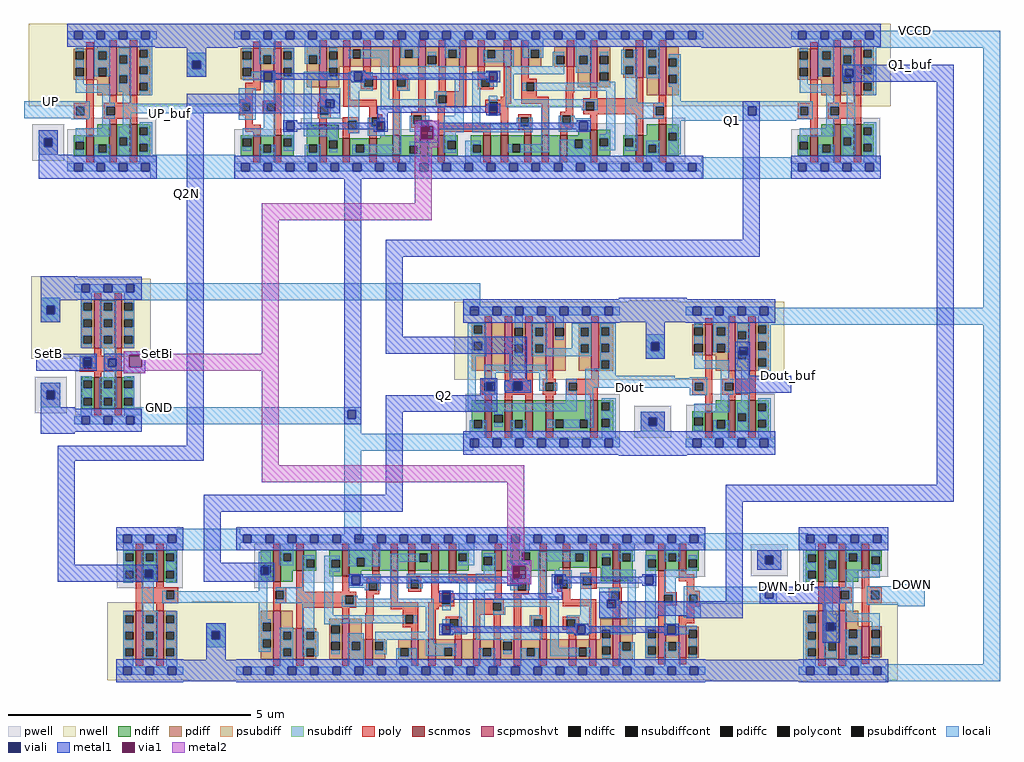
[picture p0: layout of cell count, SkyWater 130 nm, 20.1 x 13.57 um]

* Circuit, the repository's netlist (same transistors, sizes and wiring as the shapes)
* NGSPICE file created from count.ext - technology: sky130A

.subckt sky130_fd_sc_hd__dfstp_1 CLK D SET_B VGND VNB VPB VPWR Q
X0 VGND a_652_21# a_586_47# VNB sky130_fd_pr__nfet_01v8 ad=0.0882 pd=0.84 as=0.06705 ps=0.75 w=0.42 l=0.15
X1 a_956_413# a_476_47# VPWR VPB sky130_fd_pr__pfet_01v8_hvt ad=0.0483 pd=0.65 as=0.0567 ps=0.69 w=0.42 l=0.15
X2 VPWR a_476_47# a_652_21# VPB sky130_fd_pr__pfet_01v8_hvt ad=0.0567 pd=0.69 as=0.0567 ps=0.69 w=0.42 l=0.15
X3 VPWR CLK a_27_47# VPB sky130_fd_pr__pfet_01v8_hvt ad=0.0864 pd=0.91 as=0.1664 ps=1.8 w=0.64 l=0.15
X4 a_586_47# a_193_47# a_476_47# VNB sky130_fd_pr__special_nfet_01v8 ad=0.06705 pd=0.75 as=0.072 ps=0.76 w=0.36 l=0.15
X5 a_1056_47# a_476_47# VGND VNB sky130_fd_pr__nfet_01v8 ad=0.0441 pd=0.63 as=0.1092 ps=1.36 w=0.42 l=0.15
X6 a_476_47# a_27_47# a_381_47# VNB sky130_fd_pr__special_nfet_01v8 ad=0.072 pd=0.76 as=0.0935 ps=0.965 w=0.36 l=0.15
X7 a_381_47# D VPWR VPB sky130_fd_pr__pfet_01v8_hvt ad=0.12495 pd=1.175 as=0.2184 ps=2.2 w=0.84 l=0.15
X8 a_652_21# SET_B VPWR VPB sky130_fd_pr__pfet_01v8_hvt ad=0.0567 pd=0.69 as=0.0798 ps=0.8 w=0.42 l=0.15
X9 a_1224_47# a_27_47# a_1032_413# VNB sky130_fd_pr__nfet_01v8 ad=0.0441 pd=0.63 as=0.0693 ps=0.75 w=0.42 l=0.15
X10 a_562_413# a_27_47# a_476_47# VPB sky130_fd_pr__pfet_01v8_hvt ad=0.0945 pd=0.87 as=0.0567 ps=0.69 w=0.42 l=0.15
X11 VGND a_1032_413# a_1602_47# VNB sky130_fd_pr__nfet_01v8 ad=0.097 pd=0.975 as=0.1092 ps=1.36 w=0.42 l=0.15
X12 VPWR a_1182_261# a_1140_413# VPB sky130_fd_pr__pfet_01v8_hvt ad=0.1092 pd=1.36 as=0.0441 ps=0.63 w=0.42 l=0.15
X13 Q a_1602_47# VPWR VPB sky130_fd_pr__pfet_01v8_hvt ad=0.26 pd=2.52 as=0.149 ps=1.325 w=1 l=0.15
X14 a_1032_413# a_193_47# a_1056_47# VNB sky130_fd_pr__nfet_01v8 ad=0.0693 pd=0.75 as=0.0441 ps=0.63 w=0.42 l=0.15
X15 a_476_47# a_193_47# a_381_47# VPB sky130_fd_pr__pfet_01v8_hvt ad=0.0567 pd=0.69 as=0.12495 ps=1.175 w=0.42 l=0.15
X16 a_1296_47# a_1182_261# a_1224_47# VNB sky130_fd_pr__nfet_01v8 ad=0.0483 pd=0.65 as=0.0441 ps=0.63 w=0.42 l=0.15
X17 a_193_47# a_27_47# VGND VNB sky130_fd_pr__nfet_01v8 ad=0.1092 pd=1.36 as=0.0567 ps=0.69 w=0.42 l=0.15
X18 VPWR a_652_21# a_562_413# VPB sky130_fd_pr__pfet_01v8_hvt ad=0.0798 pd=0.8 as=0.0945 ps=0.87 w=0.42 l=0.15
X19 VPWR SET_B a_1032_413# VPB sky130_fd_pr__pfet_01v8_hvt ad=0.12285 pd=1.17 as=0.1092 ps=1.36 w=0.42 l=0.15
X20 a_1032_413# a_27_47# a_956_413# VPB sky130_fd_pr__pfet_01v8_hvt ad=0.0819 pd=0.81 as=0.0483 ps=0.65 w=0.42 l=0.15
X21 a_1182_261# a_1032_413# VPWR VPB sky130_fd_pr__pfet_01v8_hvt ad=0.2184 pd=2.2 as=0.12285 ps=1.17 w=0.84 l=0.15
X22 Q a_1602_47# VGND VNB sky130_fd_pr__nfet_01v8 ad=0.169 pd=1.82 as=0.097 ps=0.975 w=0.65 l=0.15
X23 a_193_47# a_27_47# VPWR VPB sky130_fd_pr__pfet_01v8_hvt ad=0.1664 pd=1.8 as=0.0864 ps=0.91 w=0.64 l=0.15
X24 a_1140_413# a_193_47# a_1032_413# VPB sky130_fd_pr__pfet_01v8_hvt ad=0.0441 pd=0.63 as=0.0819 ps=0.81 w=0.42 l=0.15
X25 VPWR a_1032_413# a_1602_47# VPB sky130_fd_pr__pfet_01v8_hvt ad=0.149 pd=1.325 as=0.1664 ps=1.8 w=0.64 l=0.15
X26 a_796_47# SET_B VGND VNB sky130_fd_pr__nfet_01v8 ad=0.0441 pd=0.63 as=0.0882 ps=0.84 w=0.42 l=0.15
X27 a_381_47# D VGND VNB sky130_fd_pr__nfet_01v8 ad=0.0935 pd=0.965 as=0.1664 ps=1.8 w=0.64 l=0.15
X28 a_1182_261# a_1032_413# VGND VNB sky130_fd_pr__nfet_01v8 ad=0.1404 pd=1.6 as=0.1137 ps=1.01 w=0.54 l=0.15
X29 a_652_21# a_476_47# a_796_47# VNB sky130_fd_pr__nfet_01v8 ad=0.1092 pd=1.36 as=0.0441 ps=0.63 w=0.42 l=0.15
X30 VGND CLK a_27_47# VNB sky130_fd_pr__nfet_01v8 ad=0.0567 pd=0.69 as=0.1092 ps=1.36 w=0.42 l=0.15
X31 VGND SET_B a_1296_47# VNB sky130_fd_pr__nfet_01v8 ad=0.1137 pd=1.01 as=0.0483 ps=0.65 w=0.42 l=0.15
.ends

.subckt sky130_fd_sc_hd__inv_2 A VGND VNB VPB VPWR Y
X0 Y A VPWR VPB sky130_fd_pr__pfet_01v8_hvt ad=0.135 pd=1.27 as=0.26 ps=2.52 w=1 l=0.15 M=2
X1 VGND A Y VNB sky130_fd_pr__nfet_01v8 ad=0.169 pd=1.82 as=0.08775 ps=0.92 w=0.65 l=0.15 M=2
.ends

.subckt sky130_fd_sc_hd__buf_2 A VGND VNB VPB VPWR X
X0 VPWR a_27_47# X VPB sky130_fd_pr__pfet_01v8_hvt ad=0.265 pd=2.53 as=0.135 ps=1.27 w=1 l=0.15 M=2
X1 VPWR A a_27_47# VPB sky130_fd_pr__pfet_01v8_hvt ad=0.149 pd=1.325 as=0.1664 ps=1.8 w=0.64 l=0.15
X2 X a_27_47# VGND VNB sky130_fd_pr__nfet_01v8 ad=0.08775 pd=0.92 as=0.097 ps=0.975 w=0.65 l=0.15 M=2
X3 VGND A a_27_47# VNB sky130_fd_pr__nfet_01v8 ad=0.097 pd=0.975 as=0.1092 ps=1.36 w=0.42 l=0.15
.ends

.subckt sky130_fd_sc_hd__xor2_1 A B VGND VNB VPB VPWR X
X0 X a_35_297# a_285_297# VPB sky130_fd_pr__pfet_01v8_hvt ad=0.3 pd=2.6 as=0.26 ps=2.52 w=1 l=0.15
X1 X B a_285_47# VNB sky130_fd_pr__nfet_01v8 ad=0.25025 pd=1.42 as=0.08775 ps=0.92 w=0.65 l=0.15
X2 a_35_297# B VGND VNB sky130_fd_pr__nfet_01v8 ad=0.08775 pd=0.92 as=0.169 ps=1.82 w=0.65 l=0.15
X3 a_117_297# B a_35_297# VPB sky130_fd_pr__pfet_01v8_hvt ad=0.135 pd=1.27 as=0.26 ps=2.52 w=1 l=0.15
X4 VPWR B a_285_297# VPB sky130_fd_pr__pfet_01v8_hvt ad=0.26 pd=2.52 as=0.135 ps=1.27 w=1 l=0.15
X5 VGND A a_35_297# VNB sky130_fd_pr__nfet_01v8 ad=0.08775 pd=0.92 as=0.08775 ps=0.92 w=0.65 l=0.15
X6 VGND a_35_297# X VNB sky130_fd_pr__nfet_01v8 ad=0.208 pd=1.94 as=0.25025 ps=1.42 w=0.65 l=0.15
X7 a_285_297# A VPWR VPB sky130_fd_pr__pfet_01v8_hvt ad=0.135 pd=1.27 as=0.135 ps=1.27 w=1 l=0.15
X8 VPWR A a_117_297# VPB sky130_fd_pr__pfet_01v8_hvt ad=0.135 pd=1.27 as=0.135 ps=1.27 w=1 l=0.15
X9 a_285_47# A VGND VNB sky130_fd_pr__nfet_01v8 ad=0.08775 pd=0.92 as=0.08775 ps=0.92 w=0.65 l=0.15
.ends

.subckt count UP SetB DOWN Dout_buf
Xsky130_fd_sc_hd__dfstp_1_0 UP_buf Q2N SetBi GND GND VCCD VCCD Q1 sky130_fd_sc_hd__dfstp_1
Xsky130_fd_sc_hd__dfstp_1_1 DWN_buf Q1_buf SetBi GND GND VCCD VCCD Q2 sky130_fd_sc_hd__dfstp_1
Xsky130_fd_sc_hd__inv_2_0 SetB GND GND VCCD VCCD SetBi sky130_fd_sc_hd__inv_2
Xsky130_fd_sc_hd__buf_2_1 DOWN GND GND VCCD VCCD DWN_buf sky130_fd_sc_hd__buf_2
Xsky130_fd_sc_hd__inv_2_1 Q2 GND GND VCCD VCCD Q2N sky130_fd_sc_hd__inv_2
Xsky130_fd_sc_hd__buf_2_2 Dout GND GND VCCD VCCD Dout_buf sky130_fd_sc_hd__buf_2
Xsky130_fd_sc_hd__buf_2_3 Q1 GND GND VCCD VCCD Q1_buf sky130_fd_sc_hd__buf_2
Xsky130_fd_sc_hd__buf_2_4 UP GND GND VCCD VCCD UP_buf sky130_fd_sc_hd__buf_2
Xsky130_fd_sc_hd__xor2_1_1 Q1 Q2 GND GND VCCD VCCD Dout sky130_fd_sc_hd__xor2_1
.ends

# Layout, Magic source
magic
tech sky130A
magscale 1 2
<< nwell >>
rect -860 -780 2690 -440
rect -850 -1500 -670 -1480
rect -850 -1810 -690 -1500
rect -850 -1820 -680 -1810
rect 1610 -1910 1810 -1580
rect -190 -2840 -20 -2820
rect 1960 -2830 2320 -2820
rect -190 -3140 -40 -2840
rect 1960 -3140 2280 -2830
rect -190 -3150 -20 -3140
rect 1960 -3150 2350 -3140
<< pwell >>
rect -846 -1006 -714 -854
rect -836 -2046 -704 -1894
rect 1634 -2146 1786 -2014
rect 2114 -2716 2266 -2584
<< psubdiff >>
rect -820 -913 -740 -880
rect -820 -947 -797 -913
rect -763 -947 -740 -913
rect -820 -980 -740 -947
rect -810 -1953 -730 -1920
rect -810 -1987 -787 -1953
rect -753 -1987 -730 -1953
rect -810 -2020 -730 -1987
rect 1660 -2063 1760 -2040
rect 1660 -2097 1693 -2063
rect 1727 -2097 1760 -2063
rect 1660 -2120 1760 -2097
rect 2140 -2633 2240 -2610
rect 2140 -2667 2173 -2633
rect 2207 -2667 2240 -2633
rect 2140 -2690 2240 -2667
<< nsubdiff >>
rect -210 -593 -130 -560
rect -210 -627 -187 -593
rect -153 -627 -130 -593
rect -210 -660 -130 -627
rect -810 -1603 -730 -1570
rect -810 -1637 -787 -1603
rect -753 -1637 -730 -1603
rect -810 -1670 -730 -1637
rect 1680 -1753 1760 -1720
rect 1680 -1787 1703 -1753
rect 1737 -1787 1760 -1753
rect 1680 -1820 1760 -1787
rect -130 -2943 -50 -2910
rect -130 -2977 -107 -2943
rect -73 -2977 -50 -2943
rect -130 -3010 -50 -2977
<< psubdiffcont >>
rect -797 -947 -763 -913
rect -787 -1987 -753 -1953
rect 1693 -2097 1727 -2063
rect 2173 -2667 2207 -2633
<< nsubdiffcont >>
rect -187 -627 -153 -593
rect -787 -1637 -753 -1603
rect 1703 -1787 1737 -1753
rect -107 -2977 -73 -2943
<< locali >>
rect 2630 -540 3140 -470
rect -210 -593 -130 -560
rect -210 -627 -187 -593
rect -153 -627 -130 -593
rect -210 -660 -130 -627
rect 360 -753 400 -750
rect -880 -830 -610 -760
rect -440 -810 20 -770
rect 360 -787 363 -753
rect 397 -787 400 -753
rect 360 -790 400 -787
rect 1820 -783 2300 -760
rect 1820 -817 2103 -783
rect 2137 -817 2300 -783
rect 1820 -840 2300 -817
rect -820 -913 -740 -880
rect -820 -947 -797 -913
rect -763 -947 -740 -913
rect -820 -980 -740 -947
rect -360 -1080 -10 -980
rect 1910 -1080 2280 -990
rect -810 -1603 -730 -1570
rect -430 -1580 1000 -1510
rect -810 -1637 -787 -1603
rect -753 -1637 -730 -1603
rect 930 -1620 1000 -1580
rect 3070 -1610 3140 -540
rect -810 -1670 -730 -1637
rect 2190 -1680 3140 -1610
rect 1680 -1753 1760 -1720
rect 1680 -1787 1703 -1753
rect 1737 -1787 1760 -1753
rect -638 -1817 -598 -1814
rect -638 -1851 -635 -1817
rect -601 -1851 -598 -1817
rect 1680 -1820 1760 -1787
rect 2064 -1773 2104 -1770
rect 2064 -1807 2067 -1773
rect 2101 -1807 2104 -1773
rect 2064 -1810 2104 -1807
rect -638 -1854 -598 -1851
rect 1460 -1900 1800 -1890
rect -810 -1953 -730 -1920
rect 1460 -1940 1870 -1900
rect 2090 -1950 2100 -1940
rect -810 -1987 -787 -1953
rect -753 -1987 -730 -1953
rect -810 -2020 -730 -1987
rect -430 -2033 510 -2020
rect -430 -2067 453 -2033
rect 487 -2067 510 -2033
rect -430 -2090 510 -2067
rect 440 -2130 510 -2090
rect 1660 -2063 1760 -2040
rect 1660 -2097 1693 -2063
rect 1727 -2097 1760 -2063
rect 1660 -2120 1760 -2097
rect 440 -2200 970 -2130
rect -250 -2610 10 -2520
rect 440 -2565 510 -2200
rect 1920 -2610 2350 -2540
rect 2140 -2633 2240 -2610
rect 2140 -2667 2173 -2633
rect 2207 -2667 2240 -2633
rect 92 -2677 132 -2674
rect -386 -2689 -346 -2686
rect -386 -2723 -383 -2689
rect -349 -2723 -346 -2689
rect 92 -2711 95 -2677
rect 129 -2711 132 -2677
rect 2140 -2690 2240 -2667
rect 92 -2714 132 -2711
rect -386 -2726 -346 -2723
rect 2720 -2758 2830 -2750
rect 1870 -2773 2220 -2760
rect -248 -2826 106 -2778
rect 1870 -2807 2173 -2773
rect 2207 -2807 2220 -2773
rect 1870 -2810 2220 -2807
rect 1520 -2813 1560 -2810
rect 1520 -2847 1523 -2813
rect 1557 -2847 1560 -2813
rect 1880 -2830 2220 -2810
rect 2592 -2834 2830 -2758
rect 2720 -2840 2830 -2834
rect 1520 -2850 1560 -2847
rect -130 -2943 -50 -2910
rect -130 -2977 -107 -2943
rect -73 -2977 -50 -2943
rect -130 -3010 -50 -2977
rect 3070 -3080 3140 -1680
rect 2670 -3150 3140 -3080
<< viali >>
rect -187 -627 -153 -593
rect 2502 -662 2536 -628
rect 363 -787 397 -753
rect 2103 -817 2137 -783
rect -797 -947 -763 -913
rect -787 -1637 -753 -1603
rect 1703 -1787 1737 -1753
rect -635 -1851 -601 -1817
rect 2067 -1807 2101 -1773
rect -534 -1854 -500 -1820
rect 1024 -1952 1058 -1918
rect 1138 -1950 1172 -1916
rect -787 -1987 -753 -1953
rect 453 -2067 487 -2033
rect 1693 -2097 1727 -2063
rect 2173 -2667 2207 -2633
rect -383 -2723 -349 -2689
rect 95 -2711 129 -2677
rect 2173 -2807 2207 -2773
rect 1523 -2847 1557 -2813
rect 2424 -2942 2458 -2908
rect -107 -2977 -73 -2943
<< metal1 >>
rect -690 -530 -680 -440
rect -340 -540 0 -440
rect 1910 -540 2280 -440
rect -210 -593 -130 -540
rect -210 -627 -187 -593
rect -153 -627 -130 -593
rect -210 -660 -130 -627
rect 2490 -628 2950 -610
rect 2490 -662 2502 -628
rect 2536 -662 2950 -628
rect 2490 -680 2950 -662
rect -210 -753 420 -730
rect -210 -787 363 -753
rect 397 -787 420 -753
rect -210 -810 420 -787
rect 2080 -783 2150 -760
rect -820 -913 -740 -880
rect -820 -947 -797 -913
rect -763 -947 -740 -913
rect -820 -980 -740 -947
rect -820 -1080 -680 -980
rect -810 -1580 -660 -1480
rect -810 -1603 -730 -1580
rect -810 -1637 -787 -1603
rect -753 -1637 -730 -1603
rect -810 -1670 -730 -1637
rect -470 -1800 -380 -1790
rect -830 -1817 -580 -1800
rect -830 -1851 -635 -1817
rect -601 -1851 -580 -1817
rect -830 -1870 -580 -1851
rect -550 -1804 -380 -1800
rect -550 -1820 -446 -1804
rect -550 -1854 -534 -1820
rect -500 -1854 -446 -1820
rect -550 -1856 -446 -1854
rect -394 -1856 -380 -1804
rect -550 -1870 -380 -1856
rect -470 -1880 -380 -1870
rect -810 -1953 -730 -1920
rect -810 -1987 -787 -1953
rect -753 -1987 -730 -1953
rect -810 -2020 -730 -1987
rect -810 -2130 -670 -2020
rect -210 -2180 -140 -810
rect 2080 -817 2103 -783
rect 2137 -817 2150 -783
rect 730 -864 830 -840
rect 730 -916 754 -864
rect 806 -916 830 -864
rect 730 -930 830 -916
rect 440 -2033 510 -1070
rect 2080 -1330 2150 -817
rect 610 -1400 2150 -1330
rect 610 -1730 680 -1400
rect 1570 -1670 1850 -1570
rect 610 -1800 1190 -1730
rect 1000 -1918 1070 -1900
rect 1120 -1910 1190 -1800
rect 1680 -1753 1760 -1670
rect 1680 -1787 1703 -1753
rect 1737 -1787 1760 -1753
rect 1680 -1820 1760 -1787
rect 2050 -1773 2110 -1750
rect 2050 -1807 2067 -1773
rect 2101 -1807 2110 -1773
rect 2050 -1890 2110 -1807
rect 1000 -1952 1024 -1918
rect 1058 -1952 1070 -1918
rect 1000 -1970 1070 -1952
rect 1100 -1916 1210 -1910
rect 1100 -1950 1138 -1916
rect 1172 -1950 1210 -1916
rect 1100 -1960 1210 -1950
rect 2050 -1960 2280 -1890
rect 2050 -1962 2110 -1960
rect 440 -2067 453 -2033
rect 487 -2067 510 -2033
rect 440 -2090 510 -2067
rect 610 -2040 1070 -1970
rect -740 -2240 -140 -2180
rect -740 -2670 -670 -2240
rect 610 -2380 680 -2040
rect 1660 -2063 1760 -2040
rect 1660 -2097 1693 -2063
rect 1727 -2097 1760 -2063
rect 1660 -2120 1760 -2097
rect 1570 -2220 1850 -2120
rect 2880 -2340 2950 -680
rect -140 -2450 680 -2380
rect 2010 -2410 2950 -2340
rect -140 -2660 -70 -2450
rect -740 -2689 -330 -2670
rect -740 -2723 -383 -2689
rect -349 -2723 -330 -2689
rect -740 -2740 -330 -2723
rect -140 -2677 150 -2660
rect -140 -2711 95 -2677
rect 129 -2711 150 -2677
rect -140 -2740 150 -2711
rect 1110 -2674 1210 -2650
rect 1110 -2726 1134 -2674
rect 1186 -2726 1210 -2674
rect 1110 -2750 1210 -2726
rect 1490 -2813 1570 -2780
rect 1490 -2847 1523 -2813
rect 1557 -2820 1570 -2813
rect 2010 -2820 2080 -2410
rect 2140 -2633 2240 -2610
rect 2140 -2667 2173 -2633
rect 2207 -2667 2240 -2633
rect 2140 -2690 2240 -2667
rect 1557 -2847 2080 -2820
rect 2150 -2773 2480 -2760
rect 2150 -2807 2173 -2773
rect 2207 -2807 2480 -2773
rect 2150 -2830 2480 -2807
rect 1490 -2880 2080 -2847
rect 1490 -2890 1730 -2880
rect 1850 -2890 2080 -2880
rect 2410 -2908 2480 -2830
rect -130 -2943 -50 -2910
rect -130 -2977 -107 -2943
rect -73 -2977 -50 -2943
rect -130 -3060 -50 -2977
rect 2410 -2942 2424 -2908
rect 2458 -2942 2480 -2908
rect 2410 -2990 2480 -2942
rect -230 -3150 10 -3060
rect 1920 -3150 2320 -3060
<< via1 >>
rect -446 -1856 -394 -1804
rect 754 -916 806 -864
rect 1134 -2726 1186 -2674
<< metal2 >>
rect 730 -864 830 -840
rect 730 -916 754 -864
rect 806 -916 830 -864
rect 730 -950 830 -916
rect 730 -1180 800 -950
rect 100 -1250 800 -1180
rect -470 -1800 -380 -1790
rect 100 -1800 170 -1250
rect -470 -1804 170 -1800
rect -470 -1856 -446 -1804
rect -394 -1856 170 -1804
rect -470 -1870 170 -1856
rect -470 -1880 -380 -1870
rect 100 -2260 170 -1870
rect 100 -2330 1180 -2260
rect 1110 -2650 1180 -2330
rect 1110 -2674 1210 -2650
rect 1110 -2726 1134 -2674
rect 1186 -2726 1210 -2674
rect 1110 -2750 1210 -2726
use sky130_fd_sc_hd__buf_2  sky130_fd_sc_hd__buf_2_1
transform -1 0 2680 0 -1 -2562
box -38 -48 406 592
use sky130_fd_sc_hd__buf_2  sky130_fd_sc_hd__buf_2_2
transform 1 0 1846 0 1 -2168
box -38 -48 406 592
use sky130_fd_sc_hd__buf_2  sky130_fd_sc_hd__buf_2_3
transform 1 0 2280 0 1 -1032
box -38 -48 406 592
use sky130_fd_sc_hd__buf_2  sky130_fd_sc_hd__buf_2_4
transform 1 0 -702 0 1 -1032
box -38 -48 406 592
use sky130_fd_sc_hd__dfstp_1  sky130_fd_sc_hd__dfstp_1_0
transform 1 0 -14 0 1 -1032
box -38 -48 1970 592
use sky130_fd_sc_hd__dfstp_1  sky130_fd_sc_hd__dfstp_1_1
transform -1 0 1926 0 -1 -2562
box -38 -48 1970 592
use sky130_fd_sc_hd__inv_2  sky130_fd_sc_hd__inv_2_0
transform 1 0 -672 0 1 -2074
box -38 -48 314 592
use sky130_fd_sc_hd__inv_2  sky130_fd_sc_hd__inv_2_1
transform -1 0 -224 0 -1 -2562
box -38 -48 314 592
use sky130_fd_sc_hd__xor2_1  sky130_fd_sc_hd__xor2_1_1
transform 1 0 930 0 1 -2168
box -38 -48 682 592
<< labels >>
rlabel metal1 s 2770 -610 2770 -610 4 Q1_buf
rlabel locali s 2040 -840 2040 -840 4 Q1
rlabel locali s 1620 -1940 1620 -1940 4 Dout
rlabel metal1 s 850 -1970 850 -1970 4 Q2
rlabel metal1 s -210 -1140 -210 -1140 4 Q2N
rlabel metal2 s -330 -1800 -330 -1800 4 SetBi
rlabel locali s -280 -810 -280 -810 4 UP_buf
rlabel metal1 s 2260 -2760 2260 -2760 4 DWN_buf
rlabel locali s -770 -760 -770 -760 4 UP
rlabel metal1 s -780 -1800 -780 -1800 4 SetB
rlabel locali s 2780 -2750 2780 -2750 4 DOWN
rlabel metal1 s 2270 -1890 2270 -1890 4 Dout_buf
rlabel locali s -320 -2020 -320 -2020 4 GND
rlabel locali s 2790 -470 2790 -470 4 VCCD
<< end >>

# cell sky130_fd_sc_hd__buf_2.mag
magic
tech sky130A
magscale 1 2
<< nwell >>
rect -38 261 406 582
<< pwell >>
rect 98 157 367 203
rect 1 21 367 157
rect 29 -17 63 21
<< scnmos >>
rect 79 47 109 131
rect 174 47 204 177
rect 258 47 288 177
<< scpmoshvt >>
rect 79 361 109 489
rect 174 297 204 497
rect 258 297 288 497
<< ndiff >>
rect 124 131 174 177
rect 27 106 79 131
rect 27 72 35 106
rect 69 72 79 106
rect 27 47 79 72
rect 109 93 174 131
rect 109 59 128 93
rect 162 59 174 93
rect 109 47 174 59
rect 204 123 258 177
rect 204 89 214 123
rect 248 89 258 123
rect 204 47 258 89
rect 288 165 341 177
rect 288 131 298 165
rect 332 131 341 165
rect 288 97 341 131
rect 288 63 298 97
rect 332 63 341 97
rect 288 47 341 63
<< pdiff >>
rect 124 489 174 497
rect 27 477 79 489
rect 27 443 35 477
rect 69 443 79 477
rect 27 409 79 443
rect 27 375 35 409
rect 69 375 79 409
rect 27 361 79 375
rect 109 477 174 489
rect 109 443 128 477
rect 162 443 174 477
rect 109 409 174 443
rect 109 375 128 409
rect 162 375 174 409
rect 109 361 174 375
rect 124 297 174 361
rect 204 461 258 497
rect 204 427 214 461
rect 248 427 258 461
rect 204 380 258 427
rect 204 346 214 380
rect 248 346 258 380
rect 204 297 258 346
rect 288 485 341 497
rect 288 451 298 485
rect 332 451 341 485
rect 288 417 341 451
rect 288 383 298 417
rect 332 383 341 417
rect 288 349 341 383
rect 288 315 298 349
rect 332 315 341 349
rect 288 297 341 315
<< ndiffc >>
rect 35 72 69 106
rect 128 59 162 93
rect 214 89 248 123
rect 298 131 332 165
rect 298 63 332 97
<< pdiffc >>
rect 35 443 69 477
rect 35 375 69 409
rect 128 443 162 477
rect 128 375 162 409
rect 214 427 248 461
rect 214 346 248 380
rect 298 451 332 485
rect 298 383 332 417
rect 298 315 332 349
<< poly >>
rect 79 489 109 515
rect 174 497 204 523
rect 258 497 288 523
rect 79 265 109 361
rect 174 265 204 297
rect 258 265 288 297
rect 27 249 109 265
rect 27 215 37 249
rect 71 215 109 249
rect 27 199 109 215
rect 151 249 288 265
rect 151 215 161 249
rect 195 215 288 249
rect 151 199 288 215
rect 79 131 109 199
rect 174 177 204 199
rect 258 177 288 199
rect 79 21 109 47
rect 174 21 204 47
rect 258 21 288 47
<< polycont >>
rect 37 215 71 249
rect 161 215 195 249
<< locali >>
rect 0 527 29 561
rect 63 527 121 561
rect 155 527 213 561
rect 247 527 305 561
rect 339 527 368 561
rect 35 477 69 493
rect 35 409 69 443
rect 112 477 178 527
rect 112 443 128 477
rect 162 443 178 477
rect 112 409 178 443
rect 112 375 128 409
rect 162 375 178 409
rect 212 461 263 493
rect 212 427 214 461
rect 248 427 263 461
rect 212 380 263 427
rect 35 341 69 375
rect 212 346 214 380
rect 248 346 263 380
rect 35 307 178 341
rect 212 312 263 346
rect 17 249 88 271
rect 17 215 37 249
rect 71 215 88 249
rect 17 197 88 215
rect 144 265 178 307
rect 144 249 195 265
rect 144 215 161 249
rect 144 199 195 215
rect 144 161 178 199
rect 229 166 263 312
rect 298 485 350 527
rect 332 451 350 485
rect 298 417 350 451
rect 332 383 350 417
rect 298 349 350 383
rect 332 315 350 349
rect 298 297 350 315
rect 35 127 178 161
rect 35 106 69 127
rect 212 123 263 166
rect 35 51 69 72
rect 112 59 128 93
rect 162 59 178 93
rect 112 17 178 59
rect 212 89 214 123
rect 248 89 263 123
rect 212 51 263 89
rect 298 165 350 185
rect 332 131 350 165
rect 298 97 350 131
rect 332 63 350 97
rect 298 17 350 63
rect 0 -17 29 17
rect 63 -17 121 17
rect 155 -17 213 17
rect 247 -17 305 17
rect 339 -17 368 17
<< viali >>
rect 29 527 63 561
rect 121 527 155 561
rect 213 527 247 561
rect 305 527 339 561
rect 29 -17 63 17
rect 121 -17 155 17
rect 213 -17 247 17
rect 305 -17 339 17
<< metal1 >>
rect 0 561 368 592
rect 0 527 29 561
rect 63 527 121 561
rect 155 527 213 561
rect 247 527 305 561
rect 339 527 368 561
rect 0 496 368 527
rect 0 17 368 48
rect 0 -17 29 17
rect 63 -17 121 17
rect 155 -17 213 17
rect 247 -17 305 17
rect 339 -17 368 17
rect 0 -48 368 -17
<< labels >>
flabel metal1 s 29 527 63 561 0 FreeSans 200 0 0 0 VPWR
port 2 nsew
flabel metal1 s 29 -17 63 17 0 FreeSans 200 0 0 0 VGND
port 3 nsew
flabel locali s 29 527 63 561 0 FreeSans 200 0 0 0 VPWR
port 2 nsew
flabel locali s 29 -17 63 17 0 FreeSans 200 0 0 0 VGND
port 3 nsew
flabel locali s 212 85 246 119 0 FreeSans 200 0 0 0 X
port 4 nsew
flabel locali s 212 357 246 391 0 FreeSans 200 0 0 0 X
port 4 nsew
flabel locali s 212 425 246 459 0 FreeSans 200 0 0 0 X
port 4 nsew
flabel locali s 29 221 63 255 0 FreeSans 200 0 0 0 A
port 5 nsew
flabel nwell s 29 527 63 561 0 FreeSans 200 0 0 0 VPB
port 6 nsew
flabel pwell s 29 -17 63 17 0 FreeSans 200 0 0 0 VNB
port 7 nsew
rlabel comment s 0 0 0 0 4 buf_2
<< properties >>
string FIXED_BBOX 0 0 368 544
string path 0.000 2.720 1.840 2.720 
<< end >>

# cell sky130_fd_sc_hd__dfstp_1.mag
magic
tech sky130A
magscale 1 2
<< nwell >>
rect -38 261 1970 582
<< pwell >>
rect 273 157 457 201
rect 1673 181 1857 203
rect 1390 157 1857 181
rect 1 21 1857 157
rect 29 -17 63 21
<< scnmos >>
rect 79 47 109 131
rect 163 47 193 131
rect 351 47 381 175
rect 446 47 476 119
rect 556 47 586 119
rect 652 47 682 131
rect 766 47 796 131
rect 838 47 868 131
rect 1026 47 1056 131
rect 1098 47 1128 131
rect 1194 47 1224 131
rect 1266 47 1296 131
rect 1342 47 1372 131
rect 1466 47 1496 155
rect 1654 47 1684 131
rect 1749 47 1779 177
<< scpmoshvt >>
rect 79 363 109 491
rect 163 363 193 491
rect 351 329 381 497
rect 448 413 478 497
rect 532 413 562 497
rect 652 413 682 497
rect 758 413 788 497
rect 842 413 872 497
rect 926 413 956 497
rect 1002 413 1032 497
rect 1110 413 1140 497
rect 1182 413 1212 497
rect 1370 413 1400 497
rect 1466 329 1496 497
rect 1654 369 1684 497
rect 1749 297 1779 497
<< ndiff >>
rect 27 119 79 131
rect 27 85 35 119
rect 69 85 79 119
rect 27 47 79 85
rect 109 93 163 131
rect 109 59 119 93
rect 153 59 163 93
rect 109 47 163 59
rect 193 119 245 131
rect 193 85 203 119
rect 237 85 245 119
rect 193 47 245 85
rect 299 93 351 175
rect 299 59 307 93
rect 341 59 351 93
rect 299 47 351 59
rect 381 119 431 175
rect 1416 131 1466 155
rect 601 119 652 131
rect 381 111 446 119
rect 381 77 391 111
rect 425 77 446 111
rect 381 47 446 77
rect 476 93 556 119
rect 476 59 501 93
rect 535 59 556 93
rect 476 47 556 59
rect 586 47 652 119
rect 682 89 766 131
rect 682 55 722 89
rect 756 55 766 89
rect 682 47 766 55
rect 796 47 838 131
rect 868 109 920 131
rect 868 75 878 109
rect 912 75 920 109
rect 868 47 920 75
rect 974 93 1026 131
rect 974 59 982 93
rect 1016 59 1026 93
rect 974 47 1026 59
rect 1056 47 1098 131
rect 1128 95 1194 131
rect 1128 61 1144 95
rect 1178 61 1194 95
rect 1128 47 1194 61
rect 1224 47 1266 131
rect 1296 47 1342 131
rect 1372 113 1466 131
rect 1372 79 1402 113
rect 1436 79 1466 113
rect 1372 47 1466 79
rect 1496 120 1548 155
rect 1699 131 1749 177
rect 1496 86 1506 120
rect 1540 86 1548 120
rect 1496 47 1548 86
rect 1602 119 1654 131
rect 1602 85 1610 119
rect 1644 85 1654 119
rect 1602 47 1654 85
rect 1684 93 1749 131
rect 1684 59 1705 93
rect 1739 59 1749 93
rect 1684 47 1749 59
rect 1779 143 1831 177
rect 1779 109 1789 143
rect 1823 109 1831 143
rect 1779 47 1831 109
<< pdiff >>
rect 27 477 79 491
rect 27 443 35 477
rect 69 443 79 477
rect 27 409 79 443
rect 27 375 35 409
rect 69 375 79 409
rect 27 363 79 375
rect 109 461 163 491
rect 109 427 119 461
rect 153 427 163 461
rect 109 363 163 427
rect 193 477 245 491
rect 193 443 203 477
rect 237 443 245 477
rect 193 409 245 443
rect 193 375 203 409
rect 237 375 245 409
rect 193 363 245 375
rect 299 461 351 497
rect 299 427 307 461
rect 341 427 351 461
rect 299 329 351 427
rect 381 477 448 497
rect 381 443 391 477
rect 425 443 448 477
rect 381 413 448 443
rect 478 484 532 497
rect 478 450 488 484
rect 522 450 532 484
rect 478 413 532 450
rect 562 413 652 497
rect 682 485 758 497
rect 682 451 702 485
rect 736 451 758 485
rect 682 413 758 451
rect 788 459 842 497
rect 788 425 798 459
rect 832 425 842 459
rect 788 413 842 425
rect 872 485 926 497
rect 872 451 882 485
rect 916 451 926 485
rect 872 413 926 451
rect 956 413 1002 497
rect 1032 483 1110 497
rect 1032 449 1042 483
rect 1076 449 1110 483
rect 1032 413 1110 449
rect 1140 413 1182 497
rect 1212 485 1264 497
rect 1212 451 1222 485
rect 1256 451 1264 485
rect 1212 413 1264 451
rect 1318 459 1370 497
rect 1318 425 1326 459
rect 1360 425 1370 459
rect 1318 413 1370 425
rect 1400 459 1466 497
rect 1400 425 1422 459
rect 1456 425 1466 459
rect 1400 413 1466 425
rect 381 409 433 413
rect 381 375 391 409
rect 425 375 433 409
rect 381 329 433 375
rect 1415 329 1466 413
rect 1496 459 1548 497
rect 1496 425 1506 459
rect 1540 425 1548 459
rect 1496 391 1548 425
rect 1496 357 1506 391
rect 1540 357 1548 391
rect 1602 485 1654 497
rect 1602 451 1610 485
rect 1644 451 1654 485
rect 1602 417 1654 451
rect 1602 383 1610 417
rect 1644 383 1654 417
rect 1602 369 1654 383
rect 1684 485 1749 497
rect 1684 451 1705 485
rect 1739 451 1749 485
rect 1684 417 1749 451
rect 1684 383 1705 417
rect 1739 383 1749 417
rect 1684 369 1749 383
rect 1496 329 1548 357
rect 1699 297 1749 369
rect 1779 449 1831 497
rect 1779 415 1789 449
rect 1823 415 1831 449
rect 1779 381 1831 415
rect 1779 347 1789 381
rect 1823 347 1831 381
rect 1779 297 1831 347
<< ndiffc >>
rect 35 85 69 119
rect 119 59 153 93
rect 203 85 237 119
rect 307 59 341 93
rect 391 77 425 111
rect 501 59 535 93
rect 722 55 756 89
rect 878 75 912 109
rect 982 59 1016 93
rect 1144 61 1178 95
rect 1402 79 1436 113
rect 1506 86 1540 120
rect 1610 85 1644 119
rect 1705 59 1739 93
rect 1789 109 1823 143
<< pdiffc >>
rect 35 443 69 477
rect 35 375 69 409
rect 119 427 153 461
rect 203 443 237 477
rect 203 375 237 409
rect 307 427 341 461
rect 391 443 425 477
rect 488 450 522 484
rect 702 451 736 485
rect 798 425 832 459
rect 882 451 916 485
rect 1042 449 1076 483
rect 1222 451 1256 485
rect 1326 425 1360 459
rect 1422 425 1456 459
rect 391 375 425 409
rect 1506 425 1540 459
rect 1506 357 1540 391
rect 1610 451 1644 485
rect 1610 383 1644 417
rect 1705 451 1739 485
rect 1705 383 1739 417
rect 1789 415 1823 449
rect 1789 347 1823 381
<< poly >>
rect 79 491 109 517
rect 163 491 193 517
rect 351 497 381 523
rect 448 497 478 523
rect 532 497 562 523
rect 652 497 682 523
rect 758 497 788 523
rect 842 497 872 523
rect 926 497 956 523
rect 1002 497 1032 523
rect 1110 497 1140 523
rect 1182 497 1212 523
rect 1370 497 1400 523
rect 1466 497 1496 523
rect 1654 497 1684 523
rect 1749 497 1779 523
rect 79 348 109 363
rect 46 318 109 348
rect 46 280 76 318
rect 22 264 76 280
rect 163 274 193 363
rect 22 230 32 264
rect 66 230 76 264
rect 22 214 76 230
rect 118 264 193 274
rect 351 267 381 329
rect 448 279 478 413
rect 532 375 562 413
rect 652 381 682 413
rect 520 365 586 375
rect 520 331 536 365
rect 570 331 586 365
rect 520 321 586 331
rect 652 365 716 381
rect 652 331 672 365
rect 706 331 716 365
rect 652 315 716 331
rect 118 230 134 264
rect 168 230 193 264
rect 118 220 193 230
rect 46 176 76 214
rect 46 146 109 176
rect 79 131 109 146
rect 163 131 193 220
rect 344 251 398 267
rect 344 217 354 251
rect 388 217 398 251
rect 448 249 586 279
rect 344 201 398 217
rect 556 219 586 249
rect 351 175 381 201
rect 446 191 514 207
rect 446 157 470 191
rect 504 157 514 191
rect 446 141 514 157
rect 556 203 610 219
rect 556 169 566 203
rect 600 169 610 203
rect 556 153 610 169
rect 446 119 476 141
rect 556 119 586 153
rect 652 131 682 315
rect 758 229 788 413
rect 842 313 872 413
rect 926 313 956 413
rect 1002 375 1032 413
rect 1002 365 1068 375
rect 1002 331 1018 365
rect 1052 331 1068 365
rect 1002 321 1068 331
rect 830 297 956 313
rect 830 263 840 297
rect 874 263 956 297
rect 1110 291 1140 413
rect 1098 279 1140 291
rect 830 247 956 263
rect 1034 269 1140 279
rect 728 213 788 229
rect 728 179 738 213
rect 772 193 788 213
rect 772 179 796 193
rect 728 163 796 179
rect 766 131 796 163
rect 838 183 868 247
rect 1034 235 1050 269
rect 1084 261 1140 269
rect 1182 365 1212 413
rect 1182 349 1246 365
rect 1182 315 1202 349
rect 1236 315 1246 349
rect 1370 337 1400 413
rect 1182 291 1246 315
rect 1366 307 1400 337
rect 1182 261 1296 291
rect 1084 235 1128 261
rect 1034 225 1128 235
rect 838 147 1056 183
rect 838 131 868 147
rect 1026 131 1056 147
rect 1098 131 1128 225
rect 1170 203 1224 219
rect 1170 169 1180 203
rect 1214 169 1224 203
rect 1170 153 1224 169
rect 1194 131 1224 153
rect 1266 131 1296 261
rect 1366 229 1396 307
rect 1466 285 1496 329
rect 1654 285 1684 369
rect 1342 213 1396 229
rect 1438 269 1684 285
rect 1438 235 1448 269
rect 1482 235 1684 269
rect 1749 265 1779 297
rect 1438 219 1684 235
rect 1342 179 1352 213
rect 1386 179 1396 213
rect 1342 163 1396 179
rect 1342 131 1372 163
rect 1466 155 1496 219
rect 1654 131 1684 219
rect 1726 249 1780 265
rect 1726 215 1736 249
rect 1770 215 1780 249
rect 1726 199 1780 215
rect 1749 177 1779 199
rect 79 21 109 47
rect 163 21 193 47
rect 351 21 381 47
rect 446 21 476 47
rect 556 21 586 47
rect 652 21 682 47
rect 766 21 796 47
rect 838 21 868 47
rect 1026 21 1056 47
rect 1098 21 1128 47
rect 1194 21 1224 47
rect 1266 21 1296 47
rect 1342 21 1372 47
rect 1466 21 1496 47
rect 1654 21 1684 47
rect 1749 21 1779 47
<< polycont >>
rect 32 230 66 264
rect 536 331 570 365
rect 672 331 706 365
rect 134 230 168 264
rect 354 217 388 251
rect 470 157 504 191
rect 566 169 600 203
rect 1018 331 1052 365
rect 840 263 874 297
rect 738 179 772 213
rect 1050 235 1084 269
rect 1202 315 1236 349
rect 1180 169 1214 203
rect 1448 235 1482 269
rect 1352 179 1386 213
rect 1736 215 1770 249
<< locali >>
rect 0 527 29 561
rect 63 527 121 561
rect 155 527 213 561
rect 247 527 305 561
rect 339 527 397 561
rect 431 527 489 561
rect 523 527 581 561
rect 615 527 673 561
rect 707 527 765 561
rect 799 527 857 561
rect 891 527 949 561
rect 983 527 1041 561
rect 1075 527 1133 561
rect 1167 527 1225 561
rect 1259 527 1317 561
rect 1351 527 1409 561
rect 1443 527 1501 561
rect 1535 527 1593 561
rect 1627 527 1685 561
rect 1719 527 1777 561
rect 1811 527 1869 561
rect 1903 527 1932 561
rect 35 477 69 493
rect 35 409 69 443
rect 103 461 169 527
rect 103 427 119 461
rect 153 427 169 461
rect 203 477 248 493
rect 237 443 248 477
rect 203 409 248 443
rect 291 461 357 527
rect 291 427 307 461
rect 341 427 357 461
rect 391 477 425 493
rect 686 485 762 527
rect 472 450 488 484
rect 522 450 638 484
rect 686 451 702 485
rect 736 451 762 485
rect 866 485 932 527
rect 798 459 832 475
rect 69 391 168 393
rect 69 375 122 391
rect 35 359 122 375
rect 156 357 168 391
rect 18 264 88 325
rect 18 230 32 264
rect 66 230 88 264
rect 18 195 88 230
rect 122 264 168 357
rect 122 230 134 264
rect 122 161 168 230
rect 35 127 168 161
rect 237 375 248 409
rect 391 409 425 443
rect 203 187 248 375
rect 203 153 214 187
rect 35 119 69 127
rect 203 119 248 153
rect 286 375 391 393
rect 286 359 425 375
rect 286 165 320 359
rect 470 357 494 391
rect 528 365 570 391
rect 528 357 536 365
rect 470 331 536 357
rect 354 251 436 325
rect 388 217 436 251
rect 354 201 436 217
rect 470 315 570 331
rect 470 191 514 315
rect 604 281 638 450
rect 866 451 882 485
rect 916 451 932 485
rect 1188 485 1272 527
rect 1026 449 1042 483
rect 1076 449 1152 483
rect 1188 451 1222 485
rect 1256 451 1272 485
rect 1312 459 1360 475
rect 1026 433 1152 449
rect 798 417 832 425
rect 1118 417 1152 433
rect 1312 425 1326 459
rect 1312 417 1360 425
rect 672 367 946 417
rect 672 365 722 367
rect 706 331 722 365
rect 672 315 722 331
rect 824 297 874 313
rect 824 281 840 297
rect 604 263 840 281
rect 604 247 874 263
rect 604 239 688 247
rect 286 127 425 165
rect 504 157 514 191
rect 470 141 514 157
rect 550 169 566 203
rect 600 187 620 203
rect 550 153 586 169
rect 550 129 620 153
rect 35 69 69 85
rect 103 59 119 93
rect 153 59 169 93
rect 237 85 248 119
rect 391 111 425 127
rect 203 69 248 85
rect 103 17 169 59
rect 291 59 307 93
rect 341 59 357 93
rect 654 93 688 239
rect 908 213 946 367
rect 722 179 738 213
rect 772 187 804 213
rect 722 153 770 179
rect 722 147 804 153
rect 862 145 946 213
rect 980 391 1084 393
rect 980 365 1050 391
rect 980 331 1018 365
rect 1052 331 1084 357
rect 1118 383 1360 417
rect 1406 459 1472 527
rect 1696 485 1753 527
rect 1406 425 1422 459
rect 1456 425 1472 459
rect 1406 389 1472 425
rect 1506 459 1540 475
rect 1506 391 1540 425
rect 980 179 1014 331
rect 1048 269 1084 295
rect 1048 221 1050 269
rect 1118 281 1152 383
rect 1594 451 1610 485
rect 1644 451 1660 485
rect 1594 417 1660 451
rect 1594 383 1610 417
rect 1644 383 1660 417
rect 1506 353 1540 357
rect 1506 349 1570 353
rect 1186 315 1202 349
rect 1236 315 1570 349
rect 1118 269 1498 281
rect 1118 247 1448 269
rect 1048 213 1084 221
rect 1164 179 1180 203
rect 980 169 1180 179
rect 1214 169 1230 203
rect 980 145 1230 169
rect 862 109 912 145
rect 391 61 425 77
rect 291 17 357 59
rect 485 59 501 93
rect 535 59 688 93
rect 485 53 688 59
rect 722 89 804 105
rect 756 55 804 89
rect 862 75 878 109
rect 862 59 912 75
rect 952 93 1016 109
rect 1264 95 1298 247
rect 1432 235 1448 247
rect 1482 235 1498 269
rect 1336 179 1352 213
rect 1386 201 1402 213
rect 1386 187 1468 201
rect 1386 179 1422 187
rect 1336 153 1422 179
rect 1456 153 1468 187
rect 1336 147 1468 153
rect 1532 136 1570 315
rect 1506 120 1570 136
rect 952 59 982 93
rect 1128 61 1144 95
rect 1178 61 1298 95
rect 1338 79 1402 113
rect 1436 79 1470 113
rect 722 17 804 55
rect 952 17 1016 59
rect 1338 17 1470 79
rect 1540 86 1570 120
rect 1506 70 1570 86
rect 1610 265 1660 383
rect 1696 451 1705 485
rect 1739 451 1753 485
rect 1696 417 1753 451
rect 1696 383 1705 417
rect 1739 383 1753 417
rect 1696 367 1753 383
rect 1789 449 1840 465
rect 1823 415 1840 449
rect 1789 381 1840 415
rect 1823 347 1840 381
rect 1789 331 1840 347
rect 1610 249 1770 265
rect 1610 215 1736 249
rect 1610 199 1770 215
rect 1610 119 1660 199
rect 1804 159 1840 331
rect 1644 85 1660 119
rect 1789 143 1840 159
rect 1823 109 1840 143
rect 1610 69 1660 85
rect 1696 93 1753 109
rect 1696 59 1705 93
rect 1739 59 1753 93
rect 1696 17 1753 59
rect 1789 53 1840 109
rect 0 -17 29 17
rect 63 -17 121 17
rect 155 -17 213 17
rect 247 -17 305 17
rect 339 -17 397 17
rect 431 -17 489 17
rect 523 -17 581 17
rect 615 -17 673 17
rect 707 -17 765 17
rect 799 -17 857 17
rect 891 -17 949 17
rect 983 -17 1041 17
rect 1075 -17 1133 17
rect 1167 -17 1225 17
rect 1259 -17 1317 17
rect 1351 -17 1409 17
rect 1443 -17 1501 17
rect 1535 -17 1593 17
rect 1627 -17 1685 17
rect 1719 -17 1777 17
rect 1811 -17 1869 17
rect 1903 -17 1932 17
<< viali >>
rect 29 527 63 561
rect 121 527 155 561
rect 213 527 247 561
rect 305 527 339 561
rect 397 527 431 561
rect 489 527 523 561
rect 581 527 615 561
rect 673 527 707 561
rect 765 527 799 561
rect 857 527 891 561
rect 949 527 983 561
rect 1041 527 1075 561
rect 1133 527 1167 561
rect 1225 527 1259 561
rect 1317 527 1351 561
rect 1409 527 1443 561
rect 1501 527 1535 561
rect 1593 527 1627 561
rect 1685 527 1719 561
rect 1777 527 1811 561
rect 1869 527 1903 561
rect 122 357 156 391
rect 214 153 248 187
rect 494 357 528 391
rect 586 169 600 187
rect 600 169 620 187
rect 586 153 620 169
rect 770 179 772 187
rect 772 179 804 187
rect 770 153 804 179
rect 1050 365 1084 391
rect 1050 357 1052 365
rect 1052 357 1084 365
rect 1050 235 1084 255
rect 1050 221 1084 235
rect 1422 153 1456 187
rect 29 -17 63 17
rect 121 -17 155 17
rect 213 -17 247 17
rect 305 -17 339 17
rect 397 -17 431 17
rect 489 -17 523 17
rect 581 -17 615 17
rect 673 -17 707 17
rect 765 -17 799 17
rect 857 -17 891 17
rect 949 -17 983 17
rect 1041 -17 1075 17
rect 1133 -17 1167 17
rect 1225 -17 1259 17
rect 1317 -17 1351 17
rect 1409 -17 1443 17
rect 1501 -17 1535 17
rect 1593 -17 1627 17
rect 1685 -17 1719 17
rect 1777 -17 1811 17
rect 1869 -17 1903 17
<< metal1 >>
rect 0 561 1932 592
rect 0 527 29 561
rect 63 527 121 561
rect 155 527 213 561
rect 247 527 305 561
rect 339 527 397 561
rect 431 527 489 561
rect 523 527 581 561
rect 615 527 673 561
rect 707 527 765 561
rect 799 527 857 561
rect 891 527 949 561
rect 983 527 1041 561
rect 1075 527 1133 561
rect 1167 527 1225 561
rect 1259 527 1317 561
rect 1351 527 1409 561
rect 1443 527 1501 561
rect 1535 527 1593 561
rect 1627 527 1685 561
rect 1719 527 1777 561
rect 1811 527 1869 561
rect 1903 527 1932 561
rect 0 496 1932 527
rect 110 391 168 397
rect 110 357 122 391
rect 156 388 168 391
rect 482 391 540 397
rect 482 388 494 391
rect 156 360 494 388
rect 156 357 168 360
rect 110 351 168 357
rect 482 357 494 360
rect 528 388 540 391
rect 1038 391 1096 397
rect 1038 388 1050 391
rect 528 360 1050 388
rect 528 357 540 360
rect 482 351 540 357
rect 1038 357 1050 360
rect 1084 357 1096 391
rect 1038 351 1096 357
rect 1038 255 1096 261
rect 1038 252 1050 255
rect 589 224 1050 252
rect 589 193 632 224
rect 1038 221 1050 224
rect 1084 221 1096 255
rect 1038 215 1096 221
rect 202 187 260 193
rect 202 153 214 187
rect 248 184 260 187
rect 574 187 632 193
rect 574 184 586 187
rect 248 156 586 184
rect 248 153 260 156
rect 202 147 260 153
rect 574 153 586 156
rect 620 153 632 187
rect 574 147 632 153
rect 758 187 816 193
rect 758 153 770 187
rect 804 184 816 187
rect 1410 187 1468 193
rect 1410 184 1422 187
rect 804 156 1422 184
rect 804 153 816 156
rect 758 147 816 153
rect 1410 153 1422 156
rect 1456 153 1468 187
rect 1410 147 1468 153
rect 0 17 1932 48
rect 0 -17 29 17
rect 63 -17 121 17
rect 155 -17 213 17
rect 247 -17 305 17
rect 339 -17 397 17
rect 431 -17 489 17
rect 523 -17 581 17
rect 615 -17 673 17
rect 707 -17 765 17
rect 799 -17 857 17
rect 891 -17 949 17
rect 983 -17 1041 17
rect 1075 -17 1133 17
rect 1167 -17 1225 17
rect 1259 -17 1317 17
rect 1351 -17 1409 17
rect 1443 -17 1501 17
rect 1535 -17 1593 17
rect 1627 -17 1685 17
rect 1719 -17 1777 17
rect 1811 -17 1869 17
rect 1903 -17 1932 17
rect 0 -48 1932 -17
<< labels >>
flabel locali s 402 289 436 323 0 FreeSans 200 0 0 0 D
port 8 nsew
flabel locali s 402 221 436 255 0 FreeSans 200 0 0 0 D
port 8 nsew
flabel locali s 29 527 63 561 3 FreeSans 400 0 0 0 VPWR
port 4 nsew
flabel locali s 1794 425 1828 459 0 FreeSans 400 0 0 0 Q
port 6 nsew
flabel locali s 1794 357 1828 391 0 FreeSans 400 0 0 0 Q
port 6 nsew
flabel locali s 1794 85 1828 119 0 FreeSans 400 0 0 0 Q
port 6 nsew
flabel locali s 770 153 804 187 0 FreeSans 400 0 0 0 SET_B
port 7 nsew
flabel locali s 30 289 64 323 0 FreeSans 400 0 0 0 CLK
port 9 nsew
flabel locali s 30 221 64 255 0 FreeSans 400 0 0 0 CLK
port 9 nsew
flabel locali s 29 -17 63 17 3 FreeSans 400 0 0 0 VGND
port 5 nsew
flabel nwell s 29 527 63 561 0 FreeSans 200 0 0 0 VPB
port 2 nsew
flabel nwell s 46 544 46 544 3 FreeSans 400 0 0 0 VPB
flabel pwell s 29 -17 63 17 0 FreeSans 200 0 0 0 VNB
port 3 nsew
flabel pwell s 46 0 46 0 3 FreeSans 400 0 0 0 VNB
flabel metal1 s 29 527 63 561 0 FreeSans 200 0 0 0 VPWR
port 4 nsew
flabel metal1 s 29 -17 63 17 0 FreeSans 200 0 0 0 VGND
port 5 nsew
rlabel comment s 0 0 0 0 4 dfstp_1
<< properties >>
string FIXED_BBOX 0 0 1932 544
<< end >>

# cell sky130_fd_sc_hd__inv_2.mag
magic
tech sky130A
magscale 1 2
<< nwell >>
rect -38 261 314 582
<< pwell >>
rect 3 21 273 203
rect 29 -17 63 21
<< scnmos >>
rect 81 47 111 177
rect 165 47 195 177
<< scpmoshvt >>
rect 81 297 111 497
rect 165 297 195 497
<< ndiff >>
rect 29 165 81 177
rect 29 131 37 165
rect 71 131 81 165
rect 29 93 81 131
rect 29 59 37 93
rect 71 59 81 93
rect 29 47 81 59
rect 111 165 165 177
rect 111 131 121 165
rect 155 131 165 165
rect 111 93 165 131
rect 111 59 121 93
rect 155 59 165 93
rect 111 47 165 59
rect 195 165 247 177
rect 195 131 205 165
rect 239 131 247 165
rect 195 93 247 131
rect 195 59 205 93
rect 239 59 247 93
rect 195 47 247 59
<< pdiff >>
rect 29 485 81 497
rect 29 451 37 485
rect 71 451 81 485
rect 29 417 81 451
rect 29 383 37 417
rect 71 383 81 417
rect 29 349 81 383
rect 29 315 37 349
rect 71 315 81 349
rect 29 297 81 315
rect 111 485 165 497
rect 111 451 121 485
rect 155 451 165 485
rect 111 417 165 451
rect 111 383 121 417
rect 155 383 165 417
rect 111 349 165 383
rect 111 315 121 349
rect 155 315 165 349
rect 111 297 165 315
rect 195 485 247 497
rect 195 451 205 485
rect 239 451 247 485
rect 195 417 247 451
rect 195 383 205 417
rect 239 383 247 417
rect 195 349 247 383
rect 195 315 205 349
rect 239 315 247 349
rect 195 297 247 315
<< ndiffc >>
rect 37 131 71 165
rect 37 59 71 93
rect 121 131 155 165
rect 121 59 155 93
rect 205 131 239 165
rect 205 59 239 93
<< pdiffc >>
rect 37 451 71 485
rect 37 383 71 417
rect 37 315 71 349
rect 121 451 155 485
rect 121 383 155 417
rect 121 315 155 349
rect 205 451 239 485
rect 205 383 239 417
rect 205 315 239 349
<< poly >>
rect 81 497 111 523
rect 165 497 195 523
rect 81 265 111 297
rect 165 265 195 297
rect 21 249 195 265
rect 21 215 37 249
rect 71 215 195 249
rect 21 199 195 215
rect 81 177 111 199
rect 165 177 195 199
rect 81 21 111 47
rect 165 21 195 47
<< polycont >>
rect 37 215 71 249
<< locali >>
rect 0 527 29 561
rect 63 527 121 561
rect 155 527 213 561
rect 247 527 276 561
rect 25 485 71 527
rect 25 451 37 485
rect 25 417 71 451
rect 25 383 37 417
rect 25 349 71 383
rect 25 315 37 349
rect 25 299 71 315
rect 105 485 171 493
rect 105 451 121 485
rect 155 451 171 485
rect 105 417 171 451
rect 105 383 121 417
rect 155 383 171 417
rect 105 349 171 383
rect 105 315 121 349
rect 155 315 171 349
rect 105 297 171 315
rect 205 485 247 527
rect 239 451 247 485
rect 205 417 247 451
rect 239 383 247 417
rect 205 349 247 383
rect 239 315 247 349
rect 205 299 247 315
rect 21 249 87 265
rect 21 215 37 249
rect 71 215 87 249
rect 25 165 71 181
rect 121 177 171 297
rect 25 131 37 165
rect 25 93 71 131
rect 25 59 37 93
rect 25 17 71 59
rect 105 165 171 177
rect 105 131 121 165
rect 155 131 171 165
rect 105 93 171 131
rect 105 59 121 93
rect 155 59 171 93
rect 105 51 171 59
rect 205 165 247 181
rect 239 131 247 165
rect 205 93 247 131
rect 239 59 247 93
rect 205 17 247 59
rect 0 -17 29 17
rect 63 -17 121 17
rect 155 -17 213 17
rect 247 -17 276 17
<< viali >>
rect 29 527 63 561
rect 121 527 155 561
rect 213 527 247 561
rect 29 -17 63 17
rect 121 -17 155 17
rect 213 -17 247 17
<< metal1 >>
rect 0 561 276 592
rect 0 527 29 561
rect 63 527 121 561
rect 155 527 213 561
rect 247 527 276 561
rect 0 496 276 527
rect 0 17 276 48
rect 0 -17 29 17
rect 63 -17 121 17
rect 155 -17 213 17
rect 247 -17 276 17
rect 0 -48 276 -17
<< labels >>
flabel locali s 29 221 63 255 0 FreeSans 340 0 0 0 A
port 7 nsew
flabel locali s 121 153 155 187 0 FreeSans 340 0 0 0 Y
port 6 nsew
flabel locali s 121 289 155 323 0 FreeSans 340 0 0 0 Y
port 6 nsew
flabel locali s 121 221 155 255 0 FreeSans 340 0 0 0 Y
port 6 nsew
flabel nwell s 29 527 63 561 0 FreeSans 200 0 0 0 VPB
port 2 nsew
flabel pwell s 29 -17 63 17 0 FreeSans 200 0 0 0 VNB
port 3 nsew
flabel metal1 s 29 527 63 561 0 FreeSans 200 0 0 0 VPWR
port 4 nsew
flabel metal1 s 29 -17 63 17 0 FreeSans 200 0 0 0 VGND
port 5 nsew
rlabel comment s 0 0 0 0 4 inv_2
<< properties >>
string FIXED_BBOX 0 0 276 544
string path 0.000 0.000 1.380 0.000 
<< end >>

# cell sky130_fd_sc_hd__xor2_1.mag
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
